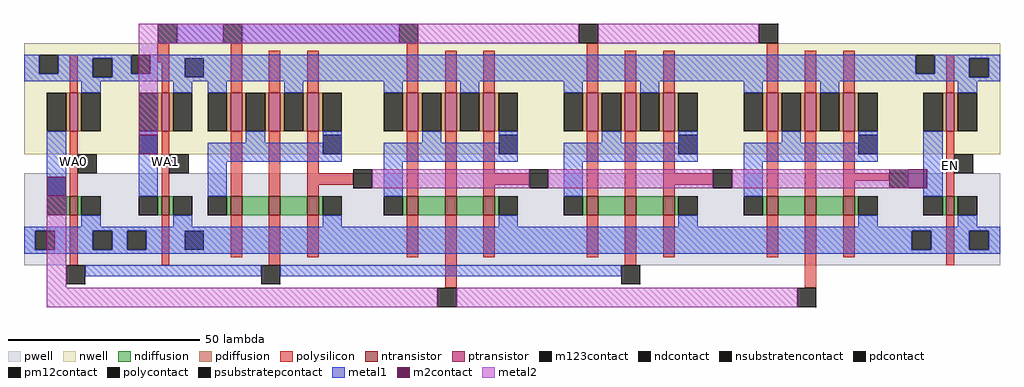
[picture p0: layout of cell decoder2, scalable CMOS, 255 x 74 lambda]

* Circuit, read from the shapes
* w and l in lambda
.subckt decoder2 EN GND! Vdd! WA0 WA1
M1 GND! WA0 nand3_1/b GND! nfet w=5 l=2
M2 GND! WA1 nand3_2/a GND! nfet w=5 l=2
M3 n1 WA1 nand3_0/out GND! nfet w=5 l=3
M4 n2 WA0 n1 GND! nfet w=5 l=3
M5 GND! nand3_0/c n2 GND! nfet w=5 l=3
M6 n3 WA1 nand3_1/out GND! nfet w=5 l=3
M7 n4 nand3_1/b n3 GND! nfet w=5 l=3
M8 GND! nand3_0/c n4 GND! nfet w=5 l=3
M9 n5 nand3_2/a nand3_2/out GND! nfet w=5 l=3
M10 n6 WA0 n5 GND! nfet w=5 l=3
M11 GND! nand3_0/c n6 GND! nfet w=5 l=3
M12 n7 nand3_2/a nand3_3/out GND! nfet w=5 l=3
M13 n8 nand3_1/b n7 GND! nfet w=5 l=3
M14 GND! nand3_0/c n8 GND! nfet w=5 l=3
M15 GND! EN nand3_0/c GND! nfet w=5 l=2
M16 Vdd! WA0 nand3_1/b Vdd! pfet w=10 l=2
M17 Vdd! WA1 nand3_2/a Vdd! pfet w=10 l=2
M18 nand3_0/out WA1 Vdd! Vdd! pfet w=10 l=3
M19 Vdd! WA0 nand3_0/out Vdd! pfet w=10 l=3
M20 nand3_0/out nand3_0/c Vdd! Vdd! pfet w=10 l=3
M21 nand3_1/out WA1 Vdd! Vdd! pfet w=10 l=3
M22 Vdd! nand3_1/b nand3_1/out Vdd! pfet w=10 l=3
M23 nand3_1/out nand3_0/c Vdd! Vdd! pfet w=10 l=3
M24 nand3_2/out nand3_2/a Vdd! Vdd! pfet w=10 l=3
M25 Vdd! WA0 nand3_2/out Vdd! pfet w=10 l=3
M26 nand3_2/out nand3_0/c Vdd! Vdd! pfet w=10 l=3
M27 nand3_3/out nand3_2/a Vdd! Vdd! pfet w=10 l=3
M28 Vdd! nand3_1/b nand3_3/out Vdd! pfet w=10 l=3
M29 nand3_3/out nand3_0/c Vdd! Vdd! pfet w=10 l=3
M30 Vdd! EN nand3_0/c Vdd! pfet w=10 l=2
.ends

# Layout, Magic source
magic
tech scmos
<< polysilicon >>
rect 41 -9 44 -4
rect 60 -8 63 -4
rect 106 -7 109 -4
rect 153 -7 156 -4
rect 200 -7 203 -4
rect 18 -37 20 -33
rect 42 -37 44 -34
rect 83 -41 92 -38
rect 128 -41 138 -38
rect 175 -41 186 -38
rect 223 -40 232 -38
rect 247 -38 249 -34
rect 18 -62 20 -60
rect 70 -62 73 -60
rect 116 -68 119 -60
rect 163 -62 166 -60
rect 210 -68 213 -60
<< polycontact >>
rect 41 -4 46 1
rect 58 -4 63 1
rect 104 -4 109 1
rect 232 -42 237 -37
rect 17 -67 22 -62
rect 68 -67 73 -62
rect 162 -67 167 -62
<< metal1 >>
rect 46 -4 58 1
rect 63 -4 104 1
rect 22 -65 68 -62
rect 73 -65 162 -62
<< m2contact >>
rect 36 -33 41 -28
rect 12 -44 17 -39
rect 237 -42 242 -37
<< pm12contact >>
rect 151 -4 156 1
rect 198 -4 203 1
rect 92 -42 97 -37
rect 138 -42 143 -37
rect 186 -42 191 -37
rect 114 -73 119 -68
rect 208 -73 213 -68
<< metal2 >>
rect 36 -4 151 1
rect 156 -4 198 1
rect 36 -28 41 -4
rect 97 -42 138 -37
rect 143 -42 186 -37
rect 191 -42 237 -37
rect 12 -68 17 -44
rect 12 -73 114 -68
rect 119 -73 208 -68
<< m123contact >>
rect 84 -33 89 -28
rect 130 -33 135 -28
rect 177 -33 182 -28
rect 224 -33 229 -28
use new_inv  new_inv_0
transform 0 1 231 1 0 -139
box 77 4 135 30
use new_inv  new_inv_3
transform 0 1 2 1 0 -139
box 77 4 135 30
use new_inv  new_inv_2
transform 0 1 26 1 0 -139
box 77 4 135 30
use nand3  nand3_2
transform 1 0 216 0 1 -33
box -75 -29 -28 29
use nand3  nand3_3
transform 1 0 263 0 1 -33
box -75 -29 -28 29
use nand3  nand3_1
transform 1 0 169 0 1 -33
box -75 -29 -28 29
use nand3  nand3_0
transform 1 0 123 0 1 -33
box -75 -29 -28 29
<< labels >>
rlabel polysilicon 247 -36 249 -36 5 EN
rlabel polysilicon 18 -35 20 -35 5 WA0
rlabel polysilicon 42 -35 44 -35 5 WA1
<< end >>

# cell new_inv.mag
magic
tech scmos
<< nwell >>
rect 106 4 135 30
<< pwell >>
rect 77 4 101 30
<< ntransistor >>
rect 90 16 95 18
<< ptransistor >>
rect 112 16 122 18
<< ndiffusion >>
rect 90 18 95 19
rect 90 15 95 16
<< pdiffusion >>
rect 112 18 122 19
rect 112 15 122 16
<< ndcontact >>
rect 90 19 95 24
rect 90 10 95 15
<< pdcontact >>
rect 112 19 122 24
rect 112 10 122 15
<< psubstratepcontact >>
rect 81 22 86 27
rect 81 7 86 12
<< nsubstratencontact >>
rect 126 22 131 27
rect 127 8 132 13
<< polysilicon >>
rect 77 16 90 18
rect 95 16 112 18
rect 122 16 132 18
<< polycontact >>
rect 101 18 106 23
<< metal1 >>
rect 80 27 87 30
rect 80 22 81 27
rect 86 24 87 27
rect 125 27 132 30
rect 125 24 126 27
rect 86 22 90 24
rect 80 19 90 22
rect 80 12 87 19
rect 122 22 126 24
rect 131 22 132 27
rect 122 19 132 22
rect 80 7 81 12
rect 86 7 87 12
rect 95 10 112 15
rect 125 13 132 19
rect 80 4 87 7
rect 125 8 127 13
rect 125 4 132 8
<< labels >>
rlabel metal1 126 5 131 5 1 Vdd!
rlabel metal1 81 5 86 5 1 GND!
<< end >>

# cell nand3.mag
magic
tech scmos
<< nwell >>
rect -75 0 -28 29
<< pwell >>
rect -75 -29 -28 -5
<< ntransistor >>
rect -63 -16 -60 -11
rect -53 -16 -50 -11
rect -43 -16 -40 -11
<< ptransistor >>
rect -63 6 -60 16
rect -53 6 -50 16
rect -43 6 -40 16
<< ndiffusion >>
rect -64 -16 -63 -11
rect -60 -16 -53 -11
rect -50 -16 -43 -11
rect -40 -16 -39 -11
<< pdiffusion >>
rect -64 6 -63 16
rect -60 6 -59 16
rect -54 6 -53 16
rect -50 6 -49 16
rect -44 6 -43 16
rect -40 6 -39 16
<< ndcontact >>
rect -69 -16 -64 -11
rect -39 -16 -34 -11
<< pdcontact >>
rect -69 6 -64 16
rect -59 6 -54 16
rect -49 6 -44 16
rect -39 6 -34 16
<< polysilicon >>
rect -63 16 -60 27
rect -53 16 -50 27
rect -43 16 -40 27
rect -63 -11 -60 6
rect -53 -11 -50 6
rect -43 -11 -40 6
rect -63 -27 -60 -16
rect -53 -27 -50 -16
rect -43 -27 -40 -16
<< metal1 >>
rect -75 19 -28 26
rect -69 16 -64 19
rect -49 16 -44 19
rect -59 3 -54 6
rect -39 3 -34 6
rect -69 -2 -34 3
rect -69 -11 -64 -2
rect -39 -19 -34 -16
rect -75 -26 -28 -19
<< labels >>
rlabel metal1 -37 -24 -37 -24 1 GND!
rlabel metal1 -57 -24 -57 -24 1 GND!
rlabel metal1 -57 25 -57 25 5 Vdd!
rlabel metal1 -37 25 -37 25 5 Vdd!
rlabel polysilicon -63 -27 -60 -27 1 a
rlabel polysilicon -53 -27 -50 -27 1 b
rlabel polysilicon -43 -27 -40 -27 1 c
rlabel metal1 -34 -2 -34 3 1 out
<< end >>
